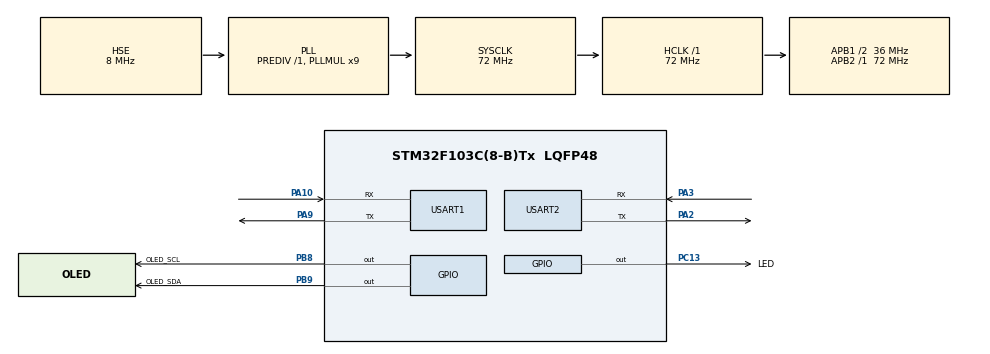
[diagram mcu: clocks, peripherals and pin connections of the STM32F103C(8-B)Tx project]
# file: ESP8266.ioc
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Dma.Request0=USART2_RX
Dma.USART2_RX.0.Direction=DMA_PERIPH_TO_MEMORY
Dma.USART2_RX.0.Instance=DMA1_Channel6
Dma.USART2_RX.0.MemDataAlignment=DMA_MDATAALIGN_BYTE
Dma.USART2_RX.0.MemInc=DMA_MINC_ENABLE
Dma.USART2_RX.0.Mode=DMA_CIRCULAR
Dma.USART2_RX.0.PeriphDataAlignment=DMA_PDATAALIGN_BYTE
Dma.USART2_RX.0.PeriphInc=DMA_PINC_DISABLE
Dma.USART2_RX.0.Priority=DMA_PRIORITY_HIGH
Mcu.Family=STM32F1
Mcu.Name=STM32F103C(8-B)Tx
Mcu.Package=LQFP48
NVIC.DMA1_Channel6_IRQn=true\:0\:0\:false\:false\:true\:false\:true\:true
NVIC.PriorityGroup=NVIC_PRIORITYGROUP_4
NVIC.USART2_IRQn=true\:0\:0\:false\:false\:true\:true\:true\:true
PA10.Mode=Asynchronous
PA10.Signal=USART1_RX
PA13.Mode=Serial_Wire
PA13.Signal=SYS_JTMS-SWDIO
PA14.Mode=Serial_Wire
PA14.Signal=SYS_JTCK-SWCLK
PA2.Mode=Asynchronous
PA2.Signal=USART2_TX
PA3.Mode=Asynchronous
PA3.Signal=USART2_RX
PA9.Mode=Asynchronous
PA9.Signal=USART1_TX
PB8.GPIO_Label=OLED_SCL
PB8.GPIO_ModeDefaultOutputPP=GPIO_MODE_OUTPUT_OD
PB8.GPIO_PuPd=GPIO_PULLUP
PB8.GPIO_Speed=GPIO_SPEED_FREQ_MEDIUM
PB8.PinState=GPIO_PIN_SET
PB8.Signal=GPIO_Output
PB9.GPIO_Label=OLED_SDA
PB9.GPIO_ModeDefaultOutputPP=GPIO_MODE_OUTPUT_OD
PB9.GPIO_PuPd=GPIO_PULLUP
PB9.GPIO_Speed=GPIO_SPEED_FREQ_MEDIUM
PB9.PinState=GPIO_PIN_SET
PB9.Signal=GPIO_Output
PC13-TAMPER-RTC.GPIO_Label=LED
PC13-TAMPER-RTC.GPIO_PuPd=GPIO_PULLUP
PC13-TAMPER-RTC.Signal=GPIO_Output
PD0-OSC_IN.Mode=HSE-External-Oscillator
PD0-OSC_IN.Signal=RCC_OSC_IN
PD1-OSC_OUT.Mode=HSE-External-Oscillator
PD1-OSC_OUT.Signal=RCC_OSC_OUT
ProjectManager.HeapSize=0x200
ProjectManager.StackSize=0x800
ProjectManager.TargetToolchain=CMake
RCC.AHBFreq_Value=72000000
RCC.APB1CLKDivider=RCC_HCLK_DIV2
RCC.APB1Freq_Value=36000000
RCC.APB1TimFreq_Value=72000000
RCC.APB2Freq_Value=72000000
RCC.APB2TimFreq_Value=72000000
RCC.HCLKFreq_Value=72000000
RCC.PLLMUL=RCC_PLL_MUL9
RCC.PLLSourceVirtual=RCC_PLLSOURCE_HSE
RCC.SYSCLKFreq_VALUE=72000000
RCC.SYSCLKSource=RCC_SYSCLKSOURCE_PLLCLK
RCC.USBFreq_Value=72000000
USART1.VirtualMode=VM_ASYNC
USART2.VirtualMode=VM_ASYNC
board=custom

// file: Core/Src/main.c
/* USER CODE BEGIN Header */
/**
  ******************************************************************************
  * @file           : main.c
  * @brief          : Main program body
  ******************************************************************************
  * @attention
  *
  * Copyright (c) 2026 STMicroelectronics.
  * All rights reserved.
  *
  * This software is licensed under terms that can be found in the LICENSE file
  * in the root directory of this software component.
  * If no LICENSE file comes with this software, it is provided AS-IS.
  *
  ******************************************************************************
  */
/* USER CODE END Header */
#include "main.h"
#include "dma.h"
#include "usart.h"
#include "gpio.h"

/* USER CODE BEGIN Includes */
#include <stdio.h>
#include "ESP8266.h"
#include "mqtt_client.h"
#include "OLED.h"
#include "board.h"          /* Timer_Expired：刷屏节拍，不直接用 HAL_GetTick */
/* USER CODE END Includes */

void SystemClock_Config(void);
/* USER CODE BEGIN PFP */
static void oled_show_status(void);   /* 定义在 USER CODE 4，主循环里要先用 */
/* USER CODE END PFP */

int main(void)
{

  /* MCU Configuration--------------------------------------------------------*/

  /* Reset of all peripherals, Initializes the Flash interface and the Systick. */
  HAL_Init();

  /* Configure the system clock */
  SystemClock_Config();

  /* Initialize all configured peripherals */
  MX_GPIO_Init();
  MX_DMA_Init();
  MX_USART1_UART_Init();
  MX_USART2_UART_Init();
  /* USER CODE BEGIN 2 */
  Uart_Init();			/* 绑定各通道并启动 DMA 环形接收（USART2 收，USART1 只发） */

  /* OLED 必须在 MX_GPIO_Init() 之后初始化：PB8/PB9 是 gpio.c 里配好的
     开漏输出 + 上拉，软件 I2C 就靠这两根线。 */
  OLED_Init();
  OLED_Clear();
  OLED_ShowString(16, 16, (char *)"IoT Panel", OLED_8X16);
  OLED_ShowString(10, 42, (char *)"booting...", OLED_6X8);
  OLED_Update();

  printf("USART2 DMA 环形接收已启动\r\n");
  HAL_Delay(1000);				/* 等待 ESP01S 上电自检完毕，避免丢掉开机的 AT+RST 响应 */
  /* USER CODE END 2 */

  /* Infinite loop */
  while (1)
  {

    /* USER CODE BEGIN 3 */
    ESP8266_Loop();       /* 网络层：配网 + 进透传，没进透传时内部只做这一步 */
    MQTT_Client_Loop();   /* 应用层：通道就绪后才真正干活，否则立刻返回 */
    oled_show_status();   /* 显示层：2Hz 把当前状态刷到屏上，内部自己控节拍 */
  }
  /* USER CODE END 3 */
}

void SystemClock_Config(void)
{
  RCC_OscInitTypeDef RCC_OscInitStruct = {0};
  RCC_ClkInitTypeDef RCC_ClkInitStruct = {0};

  /** Initializes the RCC Oscillators according to the specified parameters
  * in the RCC_OscInitTypeDef structure.
  */
  RCC_OscInitStruct.OscillatorType = RCC_OSCILLATORTYPE_HSE;
  RCC_OscInitStruct.HSEState = RCC_HSE_ON;
  RCC_OscInitStruct.HSEPredivValue = RCC_HSE_PREDIV_DIV1;
  RCC_OscInitStruct.HSIState = RCC_HSI_ON;
  RCC_OscInitStruct.PLL.PLLState = RCC_PLL_ON;
  RCC_OscInitStruct.PLL.PLLSource = RCC_PLLSOURCE_HSE;
  RCC_OscInitStruct.PLL.PLLMUL = RCC_PLL_MUL9;
  if (HAL_RCC_OscConfig(&RCC_OscInitStruct) != HAL_OK)
  {
    Error_Handler();
  }

  /** Initializes the CPU, AHB and APB buses clocks
  */
  RCC_ClkInitStruct.ClockType = RCC_CLOCKTYPE_HCLK|RCC_CLOCKTYPE_SYSCLK
                              |RCC_CLOCKTYPE_PCLK1|RCC_CLOCKTYPE_PCLK2;
  RCC_ClkInitStruct.SYSCLKSource = RCC_SYSCLKSOURCE_PLLCLK;
  RCC_ClkInitStruct.AHBCLKDivider = RCC_SYSCLK_DIV1;
  RCC_ClkInitStruct.APB1CLKDivider = RCC_HCLK_DIV2;
  RCC_ClkInitStruct.APB2CLKDivider = RCC_HCLK_DIV1;

  if (HAL_RCC_ClockConfig(&RCC_ClkInitStruct, FLASH_LATENCY_2) != HAL_OK)
  {
    Error_Handler();
  }
}

/* USER CODE BEGIN 4 */

/**
  * 函    数：fmt_1dp —— 把浮点数写成一位小数的字符串
  * 参    数：v —— 数值；out/n —— 输出缓冲
  * 说    明：不用 OLED_ShowFloatNum，因为它会先打一个 +/- 号占掉一格宽度，
  *           温度、电压都是正数，那一格纯属浪费（屏幕一行只有 21 格）。
  *           也不用 "%.1f"：虽然本工程链了 _printf_float 能打，但这里没必要
  *           为两个字段把浮点格式化整个拖进来。
  */
static void fmt_1dp(char *out, uint32_t n, double v)
{
    int32_t s = (int32_t)((v < 0.0) ? (v * 10.0 - 0.5) : (v * 10.0 + 0.5));

    if (s < 0)
    {
        snprintf(out, n, "-%ld.%01ld", (long)((-s) / 10), (long)((-s) % 10));
    }
    else
    {
        snprintf(out, n, "%ld.%01ld", (long)(s / 10), (long)(s % 10));
    }
}

/**
  * 函    数：oled_show_status
  * 说    明：把「当前这一份要上报的状态」画到 OLED 上。
  *
  *           数据源就是 MQTT_Status() —— 和上报 JSON 用的同一个结构体，
  *           所以屏幕上看到什么、线上发出去的就是什么，不会出现两边对不上
  *           还要猜是哪边错的情况。
  *
  *           刷新率定 2Hz：屏幕看着是实时的，又不至于每圈主循环都去推
  *           1KB 显存（软件 I2C 刷满一屏约 20~30ms，刷太勤会把 MQTT 的
  *           收发节奏挤歪）。
  *
  *           每行都用固定宽度（%6s / %5d / %-6s）：
  *           OLED 显存不清屏直接覆盖，宽度一变上次的字尾就会留在屏上，
  *           出现 "26.5 C0" 这种残留。
  */
static void oled_show_status(void)
{
    static uint32_t s_last;
    char  line[48];
    char  t[16], k1[16], k2[16];
    mqtt_status_t *st = MQTT_Status();

    if (!Timer_Expired(&s_last, 500U))
    {
        return;
    }

    fmt_1dp(t,  sizeof(t),  st->temp);
    fmt_1dp(k1, sizeof(k1), st->knob1);
    fmt_1dp(k2, sizeof(k2), st->knob2);

    snprintf(line, sizeof(line), "TEMP :%6s C", t);
    OLED_ShowString(0, 0, line, OLED_6X8);

    snprintf(line, sizeof(line), "HUMI :%5d %%", (int)st->humi);
    OLED_ShowString(0, 8, line, OLED_6X8);

    snprintf(line, sizeof(line), "LIGHT:%5d lx", (int)st->light);
    OLED_ShowString(0, 16, line, OLED_6X8);

    snprintf(line, sizeof(line), "SOIL :%5d C", (int)st->solitemp);
    OLED_ShowString(0, 24, line, OLED_6X8);

    snprintf(line, sizeof(line), "K1:%sV  K2:%sV", k1, k2);
    OLED_ShowString(0, 32, line, OLED_6X8);

    snprintf(line, sizeof(line), "MODE:%-6s FAN:%-3s",
             (st->mode != 0) ? "AUTO" : "MANUAL",
             (st->fan_status != 0) ? "ON" : "OFF");
    OLED_ShowString(0, 40, line, OLED_6X8);

    snprintf(line, sizeof(line), "RFID: %s", st->rfid);
    OLED_ShowString(0, 48, line, OLED_6X8);

    /* 最后一行专门用来看网络：现场排查时「屏幕显示 LINKING」和
       「屏幕正常但网页没数据」是两类完全不同的故障，一眼就能分开 */
    OLED_ShowString(0, 56,
                    MQTT_IsOnline() ? (char *)"MQTT: ONLINE"
                                    : (char *)"MQTT: LINKING...",
                    OLED_6X8);

    OLED_Update();
}

/* USER CODE END 4 */

void Error_Handler(void)
{
  __disable_irq();
  while (1)
  {
  }
}
